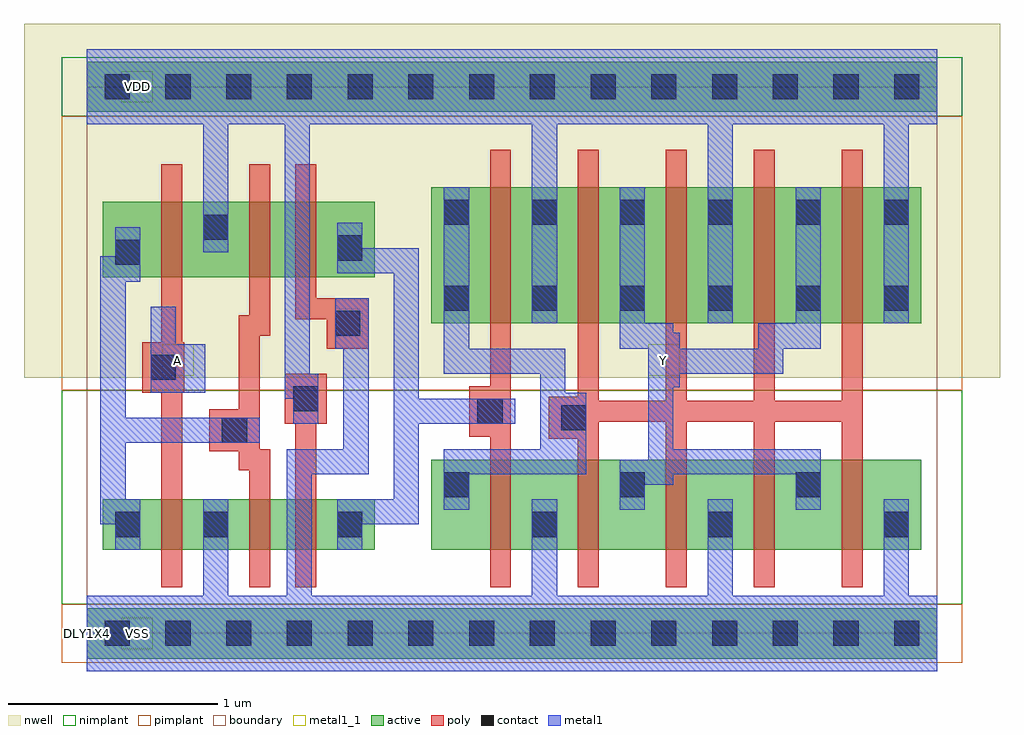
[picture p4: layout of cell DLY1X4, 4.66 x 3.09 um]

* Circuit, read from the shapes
.subckt DLY1X4 A VDD VSS Y
M1 VSS A n1 VSS nfet w=0.24u l=0.1u
M2 n2 n1 VSS VSS nfet w=0.24u l=0.1u
M3 n3 VDD n2 VSS nfet w=0.24u l=0.1u
M4 VSS n3 n4 VSS nfet w=0.43u l=0.1u
M5 Y n4 VSS VSS nfet w=0.43u l=0.1u m=4
M6 VDD A n1 VDD pfet w=0.36u l=0.1u
M7 n5 n1 VDD VDD pfet w=0.36u l=0.1u
M8 n3 VSS n5 VDD pfet w=0.36u l=0.1u
M9 VDD n3 n4 VDD pfet w=0.65u l=0.1u
M10 Y n4 VDD VDD pfet w=0.65u l=0.1u m=4
.ends

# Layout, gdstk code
import gdstk
lib = gdstk.Library(unit=1e-6, precision=5e-10)
def R(c, l, rs):  # rectangles x0, y0, x1, y1
    for r in rs: c.add(gdstk.rectangle(r[:2], r[2:], *l))
def A(c, l, x, y, w, h, nx, ny, dx, dy):  # array of equal rectangles
    R(c, l, [(x+i*dx, y+j*dy, x+i*dx+w, y+j*dy+h) for i in range(nx) for j in range(ny)])
active = (1, 0)
nwell = (2, 0)
poly = (3, 0)
nimplant = (4, 0)
pimplant = (5, 0)
contact = (6, 0)
metal1 = (7, 0)
metal1_1 = (7, 1)
boundary = (62, 0)

dly1x4 = lib.new_cell('DLY1X4')
R(dly1x4, active, [(0,-0.12,4.06,0.12), (0.075,0.4,1.375,0.64), (1.645,0.4,3.985,0.83), (1.645,1.48,3.985,2.13), (0.075,1.7,1.375,2.06), (0,2.49,4.06,2.73)])
R(dly1x4, nwell, [(-0.3,1.22,4.36,2.91)])
A(dly1x4, poly, 2.765, 0.22, 0.1, 0.79, 3, 1, 0.42, 0)
A(dly1x4, poly, 2.765, 1.11, 0.1, 1.2, 3, 1, 0.42, 0)
R(dly1x4, poly, [(0.355,0.22,0.455,1.15), (0.775,0.22,0.875,0.78), (0.995,0.22,1.095,1), (1.925,0.22,2.025,0.94), (2.345,0.22,2.445,0.93), (0.725,0.78,0.875,0.87), (0.585,0.87,0.875,0.88), (0.585,0.88,0.825,1.07), (2.205,0.93,2.445,1.01), (1.825,0.94,2.025,1.18), (0.945,1,1.145,1.24), (2.205,1.01,3.705,1.11), (0.725,1.07,0.825,1.42), (2.205,1.11,2.445,1.13), (2.345,1.13,2.445,2.31), (0.265,1.15,0.465,1.39), (1.925,1.18,2.025,2.31), (1.145,1.36,1.345,1.5), (0.355,1.39,0.455,2.24), (0.725,1.42,0.875,1.52), (0.995,1.5,1.345,1.6), (0.775,1.52,0.875,2.24), (0.995,1.6,1.095,2.24)])
R(dly1x4, nimplant, [(-0.12,0.14,4.18,1.16), (-0.12,2.47,4.18,2.75)])
R(dly1x4, pimplant, [(-0.12,-0.14,4.18,0.14), (-0.12,1.16,4.18,2.47)])
A(dly1x4, contact, 0.085, -0.06, 0.12, 0.12, 14, 2, 0.29, 2.61)
A(dly1x4, contact, 2.125, 0.46, 0.12, 0.12, 3, 1, 0.84, 0)
A(dly1x4, contact, 1.705, 0.65, 0.12, 0.12, 3, 1, 0.84, 0)
A(dly1x4, contact, 1.705, 1.54, 0.12, 0.12, 6, 2, 0.42, 0.41)
R(dly1x4, contact, [(0.135,0.46,0.255,0.58), (0.555,0.46,0.675,0.58), (1.195,0.46,1.315,0.58), (0.645,0.91,0.765,1.03), (2.265,0.97,2.385,1.09), (1.865,1,1.985,1.12), (0.985,1.06,1.105,1.18), (0.305,1.21,0.425,1.33), (1.185,1.42,1.305,1.54), (0.135,1.76,0.255,1.88), (1.195,1.78,1.315,1.9), (0.555,1.88,0.675,2)])
A(dly1x4, metal1, 2.125, 0.18, 0.12, 0.46, 3, 1, 0.84, 0)
A(dly1x4, metal1, 2.125, 1.48, 0.12, 0.95, 3, 1, 0.84, 0)
R(dly1x4, metal1, [(0,-0.18,4.06,0.18), (0.555,0.18,0.675,0.64), (0.955,0.18,1.075,0.76), (0.135,0.4,0.255,0.52), (1.195,0.4,1.315,0.52), (0.065,0.52,0.255,0.64), (1.195,0.52,1.585,0.64), (1.705,0.59,1.825,0.76), (2.545,0.59,2.665,0.71), (3.385,0.59,3.505,0.76), (0.065,0.64,0.185,0.91), (1.465,0.64,1.585,1), (2.545,0.71,2.8,0.76), (0.955,0.76,1.345,0.88), (1.705,0.76,2.385,0.88), (2.545,0.76,3.505,0.83), (2.68,0.83,3.505,0.88), (1.225,0.88,1.345,1.36), (2.165,0.88,2.385,1.15), (2.68,0.88,2.8,1.175), (0.065,0.91,0.825,1.03), (0.985,1,1.105,1.12), (1.465,1,2.045,1.12), (0.065,1.03,0.185,1.68), (0.945,1.12,1.105,1.24), (1.465,1.12,1.585,1.72), (0.305,1.15,0.565,1.38), (2.165,1.15,2.285,1.24), (2.68,1.175,2.83,1.24), (0.945,1.24,1.065,2.43), (1.705,1.24,2.285,1.36), (2.68,1.24,3.325,1.36), (1.185,1.36,1.345,1.6), (1.705,1.36,1.825,2.13), (2.545,1.36,2.83,1.435), (3.205,1.36,3.505,1.48), (0.305,1.38,0.425,1.56), (2.545,1.435,2.8,1.48), (2.545,1.48,2.665,2.13), (3.385,1.48,3.505,2.13), (0.065,1.68,0.255,1.8), (1.195,1.72,1.585,1.84), (0.135,1.8,0.255,1.94), (0.555,1.82,0.675,2.43), (1.195,1.84,1.315,1.96), (0,2.43,4.06,2.79)])
R(dly1x4, metal1_1, [(0.165,-0.075,0.315,0.075), (0.36,1.23,0.51,1.38), (2.68,1.23,2.83,1.38), (0.165,2.535,0.315,2.685)])
R(dly1x4, boundary, [(0,0,4.06,2.61)])
dly1x4.add(gdstk.Label('DLY1X4', (0,0), layer=63, texttype=0))
dly1x4.add(gdstk.Label('VSS', (0.24,0), layer=7, texttype=3))
dly1x4.add(gdstk.Label('VDD', (0.24,2.61), layer=7, texttype=3))
dly1x4.add(gdstk.Label('A', (0.435,1.305), layer=7, texttype=3))
dly1x4.add(gdstk.Label('Y', (2.755,1.305), layer=7, texttype=3))

lib.write_gds('DLY1X4.gds')
